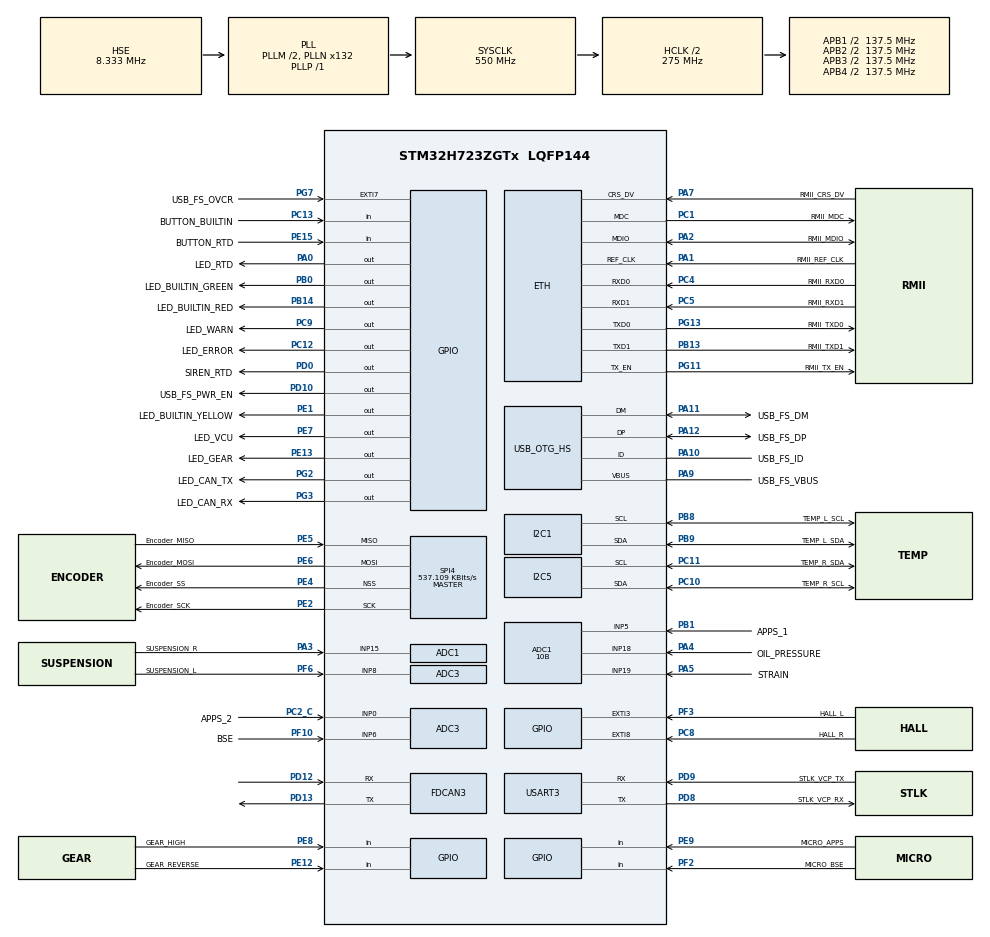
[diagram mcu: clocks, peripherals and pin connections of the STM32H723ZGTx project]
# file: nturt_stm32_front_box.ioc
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ADC1.Channel-0\#ChannelRegularConversion=ADC_CHANNEL_5
ADC1.Channel-1\#ChannelRegularConversion=ADC_CHANNEL_15
ADC1.Channel-2\#ChannelRegularConversion=ADC_CHANNEL_19
ADC1.Channel-3\#ChannelRegularConversion=ADC_CHANNEL_18
ADC1.ClockPrescaler=ADC_CLOCK_ASYNC_DIV2
ADC1.ClockPrescalerADC3=ADC_CLOCK_ASYNC_DIV2
ADC1.ConversionDataManagement=ADC_CONVERSIONDATA_DMA_ONESHOT
ADC1.EOCSelection=ADC_EOC_SINGLE_CONV
ADC1.NbrOfConversion=4
ADC1.NbrOfConversionFlag=1
ADC1.OffsetNumber-0\#ChannelRegularConversion=ADC_OFFSET_NONE
ADC1.OffsetNumber-1\#ChannelRegularConversion=ADC_OFFSET_NONE
ADC1.OffsetNumber-2\#ChannelRegularConversion=ADC_OFFSET_NONE
ADC1.OffsetNumber-3\#ChannelRegularConversion=ADC_OFFSET_NONE
ADC1.OffsetSignedSaturation-0\#ChannelRegularConversion=DISABLE
ADC1.Overrun=ADC_OVR_DATA_OVERWRITTEN
ADC1.OversamplingMode=ENABLE
ADC1.OversamplingStopReset=ADC_REGOVERSAMPLING_CONTINUED_MODE
ADC1.Rank-0\#ChannelRegularConversion=1
ADC1.Rank-1\#ChannelRegularConversion=2
ADC1.Rank-2\#ChannelRegularConversion=3
ADC1.Rank-3\#ChannelRegularConversion=4
ADC1.Ratio=4
ADC1.Resolution=ADC_RESOLUTION_10B
ADC1.SamplingTime-0\#ChannelRegularConversion=ADC_SAMPLETIME_32CYCLES_5
ADC1.SamplingTime-1\#ChannelRegularConversion=ADC_SAMPLETIME_32CYCLES_5
ADC1.SamplingTime-2\#ChannelRegularConversion=ADC_SAMPLETIME_16CYCLES_5
ADC1.SamplingTime-3\#ChannelRegularConversion=ADC_SAMPLETIME_32CYCLES_5
ADC1.TriggeredMode=ADC_TRIGGEREDMODE_SINGLE_TRIGGER
ADC1.master=1
ADC3.Channel-1\#ChannelRegularConversion=ADC_CHANNEL_0
ADC3.Channel-2\#ChannelRegularConversion=ADC_CHANNEL_6
ADC3.Channel-3\#ChannelRegularConversion=ADC_CHANNEL_8
ADC3.ClockPrescaler=ADC_CLOCK_ASYNC_DIV2
ADC3.ClockPrescalerADC3=ADC_CLOCK_ASYNC_DIV2
ADC3.ConversionDataManagement=ADC_CONVERSIONDATA_DMA_ONESHOT
ADC3.DMAContinuousRequests=ENABLE
ADC3.EOCSelection=ADC_EOC_SINGLE_CONV
ADC3.EnableRegularConversion=ENABLE
ADC3.NbrOfConversion=3
ADC3.NbrOfConversionFlag=1
ADC3.OffsetNumber-1\#ChannelRegularConversion=ADC_OFFSET_NONE
ADC3.OffsetNumber-2\#ChannelRegularConversion=ADC_OFFSET_NONE
ADC3.OffsetNumber-3\#ChannelRegularConversion=ADC_OFFSET_NONE
ADC3.OffsetSign-1\#ChannelRegularConversion=ADC3_OFFSET_SIGN_NEGATIVE
ADC3.OffsetSign-2\#ChannelRegularConversion=ADC3_OFFSET_SIGN_NEGATIVE
ADC3.OffsetSign-3\#ChannelRegularConversion=ADC3_OFFSET_SIGN_NEGATIVE
ADC3.Overrun=ADC_OVR_DATA_OVERWRITTEN
ADC3.OversamplingMode=ENABLE
ADC3.Rank-1\#ChannelRegularConversion=1
ADC3.Rank-2\#ChannelRegularConversion=2
ADC3.Rank-3\#ChannelRegularConversion=3
ADC3.Ratio=4
ADC3.ResolutionADC3=ADC_RESOLUTION_10B
ADC3.SamplingTime-1\#ChannelRegularConversion=ADC3_SAMPLETIME_24CYCLES_5
ADC3.SamplingTime-2\#ChannelRegularConversion=ADC3_SAMPLETIME_24CYCLES_5
ADC3.SamplingTime-3\#ChannelRegularConversion=ADC3_SAMPLETIME_24CYCLES_5
CORTEX_M7.AccessPermission-Cortex_Memory_Protection_Unit_Region0_Settings=MPU_REGION_FULL_ACCESS
CORTEX_M7.BaseAddress-Cortex_Memory_Protection_Unit_Region0_Settings=0x30004000
CORTEX_M7.CPU_DCache=Enabled
CORTEX_M7.CPU_ICache=Enabled
CORTEX_M7.DisableExec-Cortex_Memory_Protection_Unit_Region0_Settings=MPU_INSTRUCTION_ACCESS_DISABLE
CORTEX_M7.Enable-Cortex_Memory_Protection_Unit_Region0_Settings=MPU_REGION_ENABLE
CORTEX_M7.Enable-Cortex_Memory_Protection_Unit_Region1_Settings=__NULL
CORTEX_M7.IsBufferable-Cortex_Memory_Protection_Unit_Region0_Settings=MPU_ACCESS_BUFFERABLE
CORTEX_M7.IsShareable-Cortex_Memory_Protection_Unit_Region0_Settings=MPU_ACCESS_SHAREABLE
CORTEX_M7.MPU_Control=MPU_PRIVILEGED_DEFAULT
CORTEX_M7.Size-Cortex_Memory_Protection_Unit_Region0_Settings=MPU_REGION_SIZE_16KB
Dma.ADC1.0.Direction=DMA_PERIPH_TO_MEMORY
Dma.ADC1.0.EventEnable=DISABLE
Dma.ADC1.0.FIFOMode=DMA_FIFOMODE_DISABLE
Dma.ADC1.0.Instance=DMA1_Stream0
Dma.ADC1.0.MemDataAlignment=DMA_MDATAALIGN_HALFWORD
Dma.ADC1.0.MemInc=DMA_MINC_ENABLE
Dma.ADC1.0.Mode=DMA_NORMAL
Dma.ADC1.0.PeriphDataAlignment=DMA_PDATAALIGN_HALFWORD
Dma.ADC1.0.PeriphInc=DMA_PINC_DISABLE
Dma.ADC1.0.Polarity=HAL_DMAMUX_REQ_GEN_RISING
Dma.ADC1.0.Priority=DMA_PRIORITY_HIGH
Dma.ADC1.0.RequestNumber=1
Dma.ADC1.0.SignalID=NONE
Dma.ADC1.0.SyncEnable=DISABLE
Dma.ADC1.0.SyncPolarity=HAL_DMAMUX_SYNC_NO_EVENT
Dma.ADC1.0.SyncRequestNumber=1
Dma.ADC1.0.SyncSignalID=NONE
Dma.ADC3.3.Direction=DMA_PERIPH_TO_MEMORY
Dma.ADC3.3.EventEnable=DISABLE
Dma.ADC3.3.FIFOMode=DMA_FIFOMODE_DISABLE
Dma.ADC3.3.Instance=DMA2_Stream3
Dma.ADC3.3.MemDataAlignment=DMA_MDATAALIGN_HALFWORD
Dma.ADC3.3.MemInc=DMA_MINC_ENABLE
Dma.ADC3.3.Mode=DMA_NORMAL
Dma.ADC3.3.PeriphDataAlignment=DMA_PDATAALIGN_HALFWORD
Dma.ADC3.3.PeriphInc=DMA_PINC_DISABLE
Dma.ADC3.3.Polarity=HAL_DMAMUX_REQ_GEN_RISING
Dma.ADC3.3.Priority=DMA_PRIORITY_HIGH
Dma.ADC3.3.RequestNumber=1
Dma.ADC3.3.SignalID=NONE
Dma.ADC3.3.SyncEnable=DISABLE
Dma.ADC3.3.SyncPolarity=HAL_DMAMUX_SYNC_NO_EVENT
Dma.ADC3.3.SyncRequestNumber=1
Dma.ADC3.3.SyncSignalID=NONE
Dma.I2C1_RX.4.Direction=DMA_PERIPH_TO_MEMORY
Dma.I2C1_RX.4.EventEnable=DISABLE
Dma.I2C1_RX.4.FIFOMode=DMA_FIFOMODE_DISABLE
Dma.I2C1_RX.4.Instance=DMA1_Stream6
Dma.I2C1_RX.4.MemDataAlignment=DMA_MDATAALIGN_BYTE
Dma.I2C1_RX.4.MemInc=DMA_MINC_ENABLE
Dma.I2C1_RX.4.Mode=DMA_NORMAL
Dma.I2C1_RX.4.PeriphDataAlignment=DMA_PDATAALIGN_BYTE
Dma.I2C1_RX.4.PeriphInc=DMA_PINC_DISABLE
Dma.I2C1_RX.4.Polarity=HAL_DMAMUX_REQ_GEN_RISING
Dma.I2C1_RX.4.Priority=DMA_PRIORITY_LOW
Dma.I2C1_RX.4.RequestNumber=1
Dma.I2C1_RX.4.SignalID=NONE
Dma.I2C1_RX.4.SyncEnable=DISABLE
Dma.I2C1_RX.4.SyncPolarity=HAL_DMAMUX_SYNC_NO_EVENT
Dma.I2C1_RX.4.SyncRequestNumber=1
Dma.I2C1_RX.4.SyncSignalID=NONE
Dma.I2C1_TX.5.Direction=DMA_MEMORY_TO_PERIPH
Dma.I2C1_TX.5.EventEnable=DISABLE
Dma.I2C1_TX.5.FIFOMode=DMA_FIFOMODE_DISABLE
Dma.I2C1_TX.5.Instance=DMA1_Stream7
Dma.I2C1_TX.5.MemDataAlignment=DMA_MDATAALIGN_BYTE
Dma.I2C1_TX.5.MemInc=DMA_MINC_ENABLE
Dma.I2C1_TX.5.Mode=DMA_NORMAL
Dma.I2C1_TX.5.PeriphDataAlignment=DMA_PDATAALIGN_BYTE
Dma.I2C1_TX.5.PeriphInc=DMA_PINC_DISABLE
Dma.I2C1_TX.5.Polarity=HAL_DMAMUX_REQ_GEN_RISING
Dma.I2C1_TX.5.Priority=DMA_PRIORITY_LOW
Dma.I2C1_TX.5.RequestNumber=1
Dma.I2C1_TX.5.SignalID=NONE
Dma.I2C1_TX.5.SyncEnable=DISABLE
Dma.I2C1_TX.5.SyncPolarity=HAL_DMAMUX_SYNC_NO_EVENT
Dma.I2C1_TX.5.SyncRequestNumber=1
Dma.I2C1_TX.5.SyncSignalID=NONE
Dma.I2C5_RX.1.Direction=DMA_PERIPH_TO_MEMORY
Dma.I2C5_RX.1.EventEnable=DISABLE
Dma.I2C5_RX.1.FIFOMode=DMA_FIFOMODE_DISABLE
Dma.I2C5_RX.1.Instance=DMA2_Stream0
Dma.I2C5_RX.1.MemDataAlignment=DMA_MDATAALIGN_BYTE
Dma.I2C5_RX.1.MemInc=DMA_MINC_ENABLE
Dma.I2C5_RX.1.Mode=DMA_NORMAL
Dma.I2C5_RX.1.PeriphDataAlignment=DMA_PDATAALIGN_BYTE
Dma.I2C5_RX.1.PeriphInc=DMA_PINC_DISABLE
Dma.I2C5_RX.1.Polarity=HAL_DMAMUX_REQ_GEN_RISING
Dma.I2C5_RX.1.Priority=DMA_PRIORITY_LOW
Dma.I2C5_RX.1.RequestNumber=1
Dma.I2C5_RX.1.SignalID=NONE
Dma.I2C5_RX.1.SyncEnable=DISABLE
Dma.I2C5_RX.1.SyncPolarity=HAL_DMAMUX_SYNC_NO_EVENT
Dma.I2C5_RX.1.SyncRequestNumber=1
Dma.I2C5_RX.1.SyncSignalID=NONE
Dma.I2C5_TX.2.Direction=DMA_MEMORY_TO_PERIPH
Dma.I2C5_TX.2.EventEnable=DISABLE
Dma.I2C5_TX.2.FIFOMode=DMA_FIFOMODE_DISABLE
Dma.I2C5_TX.2.Instance=DMA2_Stream1
Dma.I2C5_TX.2.MemDataAlignment=DMA_MDATAALIGN_BYTE
Dma.I2C5_TX.2.MemInc=DMA_MINC_ENABLE
Dma.I2C5_TX.2.Mode=DMA_NORMAL
Dma.I2C5_TX.2.PeriphDataAlignment=DMA_PDATAALIGN_BYTE
Dma.I2C5_TX.2.PeriphInc=DMA_PINC_DISABLE
Dma.I2C5_TX.2.Polarity=HAL_DMAMUX_REQ_GEN_RISING
Dma.I2C5_TX.2.Priority=DMA_PRIORITY_LOW
Dma.I2C5_TX.2.RequestNumber=1
Dma.I2C5_TX.2.SignalID=NONE
Dma.I2C5_TX.2.SyncEnable=DISABLE
Dma.I2C5_TX.2.SyncPolarity=HAL_DMAMUX_SYNC_NO_EVENT
Dma.I2C5_TX.2.SyncRequestNumber=1
Dma.I2C5_TX.2.SyncSignalID=NONE
Dma.Request0=ADC1
Dma.Request1=I2C5_RX
Dma.Request2=I2C5_TX
Dma.Request3=ADC3
Dma.Request4=I2C1_RX
Dma.Request5=I2C1_TX
ETH.MediaInterface=HAL_ETH_RMII_MODE
FDCAN3.AutoRetransmission=ENABLE
FDCAN3.CalculateBaudRateNominal=249999
FDCAN3.CalculateTimeBitNominal=4000
FDCAN3.CalculateTimeQuantumNominal=160.00000640000025
FDCAN3.DataPrescaler=8
FDCAN3.DataSyncJumpWidth=12
FDCAN3.DataTimeSeg1=12
FDCAN3.DataTimeSeg2=12
FDCAN3.ExtFiltersNbr=16
FDCAN3.NominalPrescaler=8
FDCAN3.NominalSyncJumpWidth=2
FDCAN3.NominalTimeSeg1=19
FDCAN3.NominalTimeSeg2=5
FDCAN3.RxFifo0ElmtsNbr=32
FDCAN3.RxFifo1ElmtsNbr=32
FDCAN3.StdFiltersNbr=32
FDCAN3.TxFifoQueueElmtsNbr=32
FDCAN3.TxFifoQueueMode=FDCAN_TX_QUEUE_OPERATION
FREERTOS.Tasks01=feed_dog_task,55,128,start_feed_dog_task,As weak,NULL,Static,feed_dog_task_buffer,feed_dog_task_control_block
FREERTOS.configCHECK_FOR_STACK_OVERFLOW=2
FREERTOS.configENABLE_FPU=1
FREERTOS.configGENERATE_RUN_TIME_STATS=1
FREERTOS.configTIMER_TASK_PRIORITY=48
FREERTOS.configUSE_NEWLIB_REENTRANT=1
I2C1.I2C_Fall_Time=20
I2C1.I2C_Rise_Time=20
I2C1.Timing=0x30908EC2
I2C5.I2C_Fall_Time=20
I2C5.I2C_Rise_Time=20
I2C5.Timing=0x30908EC2
IWDG1.Reload=1600 - 1
IWDG1.Window=1600 - 1
Mcu.Family=STM32H7
Mcu.Name=STM32H723ZGTx
Mcu.Package=LQFP144
Mcu.UserConstants=WHEEL_SPEED_TIMER_PERIOD,10.0;WHEEL_SPEED_TIMER_COUNT_PERIOD,0.001
NVIC.ADC3_IRQn=true\:5\:0\:false\:false\:true\:true\:true\:true\:true
NVIC.ADC_IRQn=true\:5\:0\:false\:false\:true\:true\:true\:true\:true
NVIC.DMA1_Stream0_IRQn=true\:5\:0\:true\:false\:true\:true\:false\:true\:true
NVIC.DMA1_Stream6_IRQn=true\:5\:0\:false\:false\:true\:false\:false\:true\:true
NVIC.DMA1_Stream7_IRQn=true\:5\:0\:false\:false\:true\:false\:false\:true\:true
NVIC.DMA2_Stream0_IRQn=true\:5\:0\:false\:false\:true\:true\:false\:true\:true
NVIC.DMA2_Stream1_IRQn=true\:5\:0\:true\:false\:true\:true\:false\:true\:true
NVIC.DMA2_Stream3_IRQn=true\:5\:0\:false\:false\:true\:true\:false\:true\:true
NVIC.EXTI3_IRQn=true\:5\:0\:false\:false\:true\:true\:true\:true\:true
NVIC.EXTI9_5_IRQn=true\:5\:0\:false\:false\:true\:true\:true\:true\:true
NVIC.FDCAN3_IT0_IRQn=true\:5\:0\:false\:false\:true\:true\:true\:true\:true
NVIC.FDCAN3_IT1_IRQn=true\:5\:0\:false\:false\:true\:true\:true\:true\:true
NVIC.I2C1_ER_IRQn=true\:5\:0\:false\:false\:true\:true\:true\:true\:true
NVIC.I2C1_EV_IRQn=true\:5\:0\:false\:false\:true\:true\:true\:true\:true
NVIC.I2C5_ER_IRQn=true\:5\:0\:false\:false\:true\:true\:true\:true\:true
NVIC.I2C5_EV_IRQn=true\:5\:0\:false\:false\:true\:true\:true\:true\:true
NVIC.PriorityGroup=NVIC_PRIORITYGROUP_4
NVIC.SPI4_IRQn=true\:5\:0\:false\:false\:true\:true\:true\:true\:true
NVIC.TIM6_DAC_IRQn=true\:15\:0\:false\:false\:true\:false\:false\:true\:true
NVIC.TIM7_IRQn=true\:5\:0\:false\:false\:true\:true\:true\:true\:true
NVIC.TimeBase=TIM6_DAC_IRQn
NVIC.TimeBaseIP=TIM6
PA0.GPIO_Label=LED_RTD
PA0.Signal=GPIO_Output
PA1.GPIO_Label=RMII_REF_CLK
PA1.Mode=RMII
PA1.Signal=ETH_REF_CLK
PA10.GPIO_Label=USB_FS_ID
PA10.Mode=OTG/Dual-Role-Device-FS
PA10.Signal=USB_OTG_HS_ID
PA11.GPIO_Label=USB_FS_DM
PA11.Mode=OTG/Dual-Role-Device-FS
PA11.Signal=USB_OTG_HS_DM
PA12.GPIO_Label=USB_FS_DP
PA12.Mode=OTG/Dual-Role-Device-FS
PA12.Signal=USB_OTG_HS_DP
PA13(JTMS/SWDIO).GPIO_Label=SWDIO
PA13(JTMS/SWDIO).Mode=Trace_Asynchronous_SW
PA13(JTMS/SWDIO).Signal=DEBUG_JTMS-SWDIO
PA14(JTCK/SWCLK).GPIO_Label=SWCLK
PA14(JTCK/SWCLK).Mode=Trace_Asynchronous_SW
PA14(JTCK/SWCLK).Signal=DEBUG_JTCK-SWCLK
PA2.GPIO_Label=RMII_MDIO
PA2.Mode=RMII
PA2.Signal=ETH_MDIO
PA3.GPIO_Label=SUSPENSION_R
PA3.Signal=SharedAnalog_PA3
PA4.GPIO_Label=OIL_PRESSURE
PA4.Signal=SharedAnalog_PA4
PA5.GPIO_Label=STRAIN
PA5.Signal=SharedAnalog_PA5
PA7.GPIO_Label=RMII_CRS_DV
PA7.Mode=RMII
PA7.Signal=ETH_CRS_DV
PA9.GPIO_Label=USB_FS_VBUS
PA9.Mode=Activate_VBUS_FS
PA9.Signal=USB_OTG_HS_VBUS
PB0.GPIO_Label=LED_BUILTIN_GREEN
PB0.Signal=GPIO_Output
PB1.GPIO_Label=APPS_1
PB1.Signal=SharedAnalog_PB1
PB13.GPIO_Label=RMII_TXD1
PB13.Mode=RMII
PB13.Signal=ETH_TXD1
PB14.GPIO_Label=LED_BUILTIN_RED
PB14.Signal=GPIO_Output
PB3(JTDO/TRACESWO).GPIO_Label=SWO
PB3(JTDO/TRACESWO).Mode=Trace_Asynchronous_SW
PB3(JTDO/TRACESWO).Signal=DEBUG_JTDO-SWO
PB8.GPIO_Label=TEMP_L_SCL
PB8.Mode=I2C
PB8.Signal=I2C1_SCL
PB9.GPIO_Label=TEMP_L_SDA
PB9.Mode=I2C
PB9.Signal=I2C1_SDA
PC1.GPIO_Label=RMII_MDC
PC1.Mode=RMII
PC1.Signal=ETH_MDC
PC10.GPIO_Label=TEMP_R_SCL
PC10.Mode=I2C
PC10.Signal=I2C5_SDA
PC11.GPIO_Label=TEMP_R_SDA
PC11.Mode=I2C
PC11.Signal=I2C5_SCL
PC12.GPIO_Label=LED_ERROR
PC12.Signal=GPIO_Output
PC13.GPIO_Label=BUTTON_BUILTIN
PC13.Signal=GPIO_Input
PC14-OSC32_IN.Mode=LSE-External-Oscillator
PC14-OSC32_IN.Signal=RCC_OSC32_IN
PC15-OSC32_OUT.Mode=LSE-External-Oscillator
PC15-OSC32_OUT.Signal=RCC_OSC32_OUT
PC2_C.GPIO_Label=APPS_2
PC2_C.Signal=SharedAnalog_PC2
PC4.GPIO_Label=RMII_RXD0
PC4.Mode=RMII
PC4.Signal=ETH_RXD0
PC5.GPIO_Label=RMII_RXD1
PC5.Mode=RMII
PC5.Signal=ETH_RXD1
PC8.GPIO_Label=HALL_R
PC8.GPIO_ModeDefaultEXTI=GPIO_MODE_IT_FALLING
PC8.GPIO_PuPd=GPIO_PULLUP
PC8.Signal=GPXTI8
PC9.GPIO_Label=LED_WARN
PC9.Signal=GPIO_Output
PD0.GPIO_Label=SIREN_RTD
PD0.Signal=GPIO_Output
PD10.GPIO_Label=USB_FS_PWR_EN
PD10.Signal=GPIO_Output
PD12.Mode=FDCAN_Activate
PD12.Signal=FDCAN3_RX
PD13.Mode=FDCAN_Activate
PD13.Signal=FDCAN3_TX
PD8.GPIO_Label=STLK_VCP_RX
PD8.Mode=Asynchronous
PD8.Signal=USART3_TX
PD9.GPIO_Label=STLK_VCP_TX
PD9.Mode=Asynchronous
PD9.Signal=USART3_RX
PE1.GPIO_Label=LED_BUILTIN_YELLOW
PE1.Signal=GPIO_Output
PE12.GPIO_Label=GEAR_REVERSE
PE12.GPIO_PuPd=GPIO_PULLDOWN
PE12.Signal=GPIO_Input
PE13.GPIO_Label=LED_GEAR
PE13.Signal=GPIO_Output
PE15.GPIO_Label=BUTTON_RTD
PE15.GPIO_PuPd=GPIO_PULLDOWN
PE15.Signal=GPIO_Input
PE2.GPIO_Label=Encoder_SCK
PE2.Mode=Full_Duplex_Master
PE2.Signal=SPI4_SCK
PE4.GPIO_Label=Encoder_SS
PE4.Mode=NSS_Signal_Hard_Output
PE4.Signal=SPI4_NSS
PE5.GPIO_Label=Encoder_MISO
PE5.Mode=Full_Duplex_Master
PE5.Signal=SPI4_MISO
PE6.GPIO_Label=Encoder_MOSI
PE6.Mode=Full_Duplex_Master
PE6.Signal=SPI4_MOSI
PE7.GPIO_Label=LED_VCU
PE7.Signal=GPIO_Output
PE8.GPIO_Label=GEAR_HIGH
PE8.GPIO_PuPd=GPIO_PULLDOWN
PE8.Signal=GPIO_Input
PE9.GPIO_Label=MICRO_APPS
PE9.GPIO_PuPd=GPIO_PULLUP
PE9.Signal=GPIO_Input
PF10.GPIO_Label=BSE
PF10.Signal=SharedAnalog_PF10
PF2.GPIO_Label=MICRO_BSE
PF2.GPIO_PuPd=GPIO_PULLUP
PF2.Signal=GPIO_Input
PF3.GPIO_Label=HALL_L
PF3.GPIO_PuPd=GPIO_PULLUP
PF3.Signal=GPXTI3
PF6.GPIO_Label=SUSPENSION_L
PF6.Mode=IN8-Single-Ended
PF6.Signal=ADC3_INP8
PG11.GPIO_Label=RMII_TX_EN
PG11.Mode=RMII
PG11.Signal=ETH_TX_EN
PG13.GPIO_Label=RMII_TXD0
PG13.Mode=RMII
PG13.Signal=ETH_TXD0
PG2.GPIO_Label=LED_CAN_TX
PG2.Signal=GPIO_Output
PG3.GPIO_Label=LED_CAN_RX
PG3.Signal=GPIO_Output
PG7.GPIO_Label=USB_FS_OVCR
PG7.Signal=GPXTI7
PH0-OSC_IN.GPIO_Label=MCO
PH0-OSC_IN.Mode=HSE-External-Clock-Source
PH0-OSC_IN.Signal=RCC_OSC_IN
PH1-OSC_OUT.Signal=RCC_OSC_OUT
ProjectManager.HeapSize=0x200
ProjectManager.StackSize=0x400
ProjectManager.TargetToolchain=STM32CubeIDE
RCC.ADCFreq_Value=49999998
RCC.APB1Freq_Value=137499994.5
RCC.APB2Freq_Value=137499994.5
RCC.APB3Freq_Value=137499994.5
RCC.APB4Freq_Value=137499994.5
RCC.CortexFreq_Value=549999978
RCC.D1PPRE=RCC_APB3_DIV2
RCC.D2PPRE1=RCC_APB1_DIV2
RCC.D2PPRE2=RCC_APB2_DIV2
RCC.D3PPRE=RCC_APB4_DIV2
RCC.DIVM1=2
RCC.DIVM2=2
RCC.DIVN1=132
RCC.DIVN2=132
RCC.DIVP1=1
RCC.DIVP2=11
RCC.DIVQ1=11
RCC.HCLKFreq_Value=274999989
RCC.HPRE=RCC_HCLK_DIV2
RCC.HSE_VALUE=8333333
RCC.PLLFRACN=0
RCC.PLLSourceVirtual=RCC_PLLSOURCE_HSE
RCC.SYSCLKFreq_VALUE=549999978
RCC.SYSCLKSource=RCC_SYSCLKSOURCE_PLLCLK
RCC.USBCLockSelection=RCC_USBCLKSOURCE_HSI48
RCC.USBFreq_Value=48000000
SH.SharedAnalog_PA3.0=GPIO_Analog
SH.SharedAnalog_PA3.1=ADC1_INP15,IN15-Single-Ended
SH.SharedAnalog_PA4.0=GPIO_Analog
SH.SharedAnalog_PA4.1=ADC1_INP18,IN18-Single-Ended
SH.SharedAnalog_PA5.0=GPIO_Analog
SH.SharedAnalog_PA5.1=ADC1_INP19,IN19-Single-Ended
SH.SharedAnalog_PB1.0=GPIO_Analog
SH.SharedAnalog_PB1.1=ADC1_INP5,IN5-Single-Ended
SH.SharedAnalog_PC2.0=GPIO_Analog
SH.SharedAnalog_PC2.1=ADC3_INP0,IN0-Single-Ended
SH.SharedAnalog_PF10.0=GPIO_Analog
SH.SharedAnalog_PF10.1=ADC3_INP6,IN6-Single-Ended
SPI4.BaudRatePrescaler=SPI_BAUDRATEPRESCALER_256
SPI4.CalculateBaudRate=537.109 KBits/s
SPI4.DataSize=SPI_DATASIZE_8BIT
SPI4.Direction=SPI_DIRECTION_2LINES
SPI4.FifoThreshold=SPI_FIFO_THRESHOLD_01DATA
SPI4.MasterInterDataIdleness=SPI_MASTER_INTERDATA_IDLENESS_06CYCLE
SPI4.MasterSSIdleness=SPI_MASTER_SS_IDLENESS_06CYCLE
SPI4.Mode=SPI_MODE_MASTER
SPI4.NSSPMode=SPI_NSS_PULSE_DISABLE
SPI4.VirtualNSS=VM_NSSHARD
SPI4.VirtualType=VM_MASTER
TIM2.Prescaler=2750 - 1
TIM7.AutoReloadPreload=TIM_AUTORELOAD_PRELOAD_ENABLE
TIM7.Period=10000-1
TIM7.Prescaler=275-1
USART3.VirtualMode-Asynchronous=VM_ASYNC
VP_FREERTOS_VS_CMSIS_V2.Mode=CMSIS_V2
VP_IWDG1_VS_IWDG.Mode=IWDG_Activate
VP_SYS_VS_tim6.Mode=TIM6
VP_TIM2_VS_ClockSourceINT.Mode=Internal
VP_TIM7_VS_ClockSourceINT.Mode=Enable_Timer
board=NUCLEO-H723ZG

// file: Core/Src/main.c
/* USER CODE BEGIN Header */
/**
 ******************************************************************************
 * @file           : main.c
 * @brief          : Main program body
 ******************************************************************************
 * @attention
 *
 * Copyright (c) 2023 STMicroelectronics.
 * All rights reserved.
 *
 * This software is licensed under terms that can be found in the LICENSE file
 * in the root directory of this software component.
 * If no LICENSE file comes with this software, it is provided AS-IS.
 *
 ******************************************************************************
 */
/* USER CODE END Header */
#include "main.h"
#include "string.h"
#include "cmsis_os.h"

/* USER CODE BEGIN Includes */
#include "user_main.h"
#include "sensors.h"
/* USER CODE END Includes */

typedef StaticTask_t osStaticThreadDef_t;

#if defined ( __ICCARM__ ) /*!< IAR Compiler */
#pragma location=0x30000000
ETH_DMADescTypeDef  DMARxDscrTab[ETH_RX_DESC_CNT]; /* Ethernet Rx DMA Descriptors */
#pragma location=0x30000200
ETH_DMADescTypeDef  DMATxDscrTab[ETH_TX_DESC_CNT]; /* Ethernet Tx DMA Descriptors */

#elif defined ( __CC_ARM )  /* MDK ARM Compiler */

__attribute__((at(0x30000000))) ETH_DMADescTypeDef  DMARxDscrTab[ETH_RX_DESC_CNT]; /* Ethernet Rx DMA Descriptors */
__attribute__((at(0x30000200))) ETH_DMADescTypeDef  DMATxDscrTab[ETH_TX_DESC_CNT]; /* Ethernet Tx DMA Descriptors */

#elif defined ( __GNUC__ ) /* GNU Compiler */
ETH_DMADescTypeDef DMARxDscrTab[ETH_RX_DESC_CNT] __attribute__((section(".RxDecripSection"))); /* Ethernet Rx DMA Descriptors */
ETH_DMADescTypeDef DMATxDscrTab[ETH_TX_DESC_CNT] __attribute__((section(".TxDecripSection")));   /* Ethernet Tx DMA Descriptors */

#endif

ETH_TxPacketConfig TxConfig;

ADC_HandleTypeDef hadc1;
ADC_HandleTypeDef hadc3;
DMA_HandleTypeDef hdma_adc1;
DMA_HandleTypeDef hdma_adc3;

ETH_HandleTypeDef heth;

FDCAN_HandleTypeDef hfdcan3;

I2C_HandleTypeDef hi2c1;
I2C_HandleTypeDef hi2c5;
DMA_HandleTypeDef hdma_i2c1_rx;
DMA_HandleTypeDef hdma_i2c1_tx;
DMA_HandleTypeDef hdma_i2c5_rx;
DMA_HandleTypeDef hdma_i2c5_tx;

IWDG_HandleTypeDef hiwdg1;

SPI_HandleTypeDef hspi4;

TIM_HandleTypeDef htim2;
TIM_HandleTypeDef htim7;

UART_HandleTypeDef huart3;

/* Definitions for feed_dog_task */
osThreadId_t feed_dog_taskHandle;
uint32_t feed_dog_task_buffer[ 128 ];
osStaticThreadDef_t feed_dog_task_control_block;
const osThreadAttr_t feed_dog_task_attributes = {
  .name = "feed_dog_task",
  .cb_mem = &feed_dog_task_control_block,
  .cb_size = sizeof(feed_dog_task_control_block),
  .stack_mem = &feed_dog_task_buffer[0],
  .stack_size = sizeof(feed_dog_task_buffer),
  .priority = (osPriority_t) osPriorityRealtime7,
};

void SystemClock_Config(void);
void PeriphCommonClock_Config(void);
static void MPU_Config(void);
static void MX_GPIO_Init(void);
static void MX_DMA_Init(void);
static void MX_ETH_Init(void);
static void MX_USART3_UART_Init(void);
static void MX_USB_OTG_HS_USB_Init(void);
static void MX_FDCAN3_Init(void);
static void MX_I2C5_Init(void);
static void MX_SPI4_Init(void);
static void MX_ADC1_Init(void);
static void MX_TIM2_Init(void);
static void MX_ADC3_Init(void);
static void MX_IWDG1_Init(void);
static void MX_TIM7_Init(void);
static void MX_I2C1_Init(void);
void start_feed_dog_task(void *argument);

int main(void)
{

  /* MPU Configuration--------------------------------------------------------*/
  MPU_Config();

  /* Enable I-Cache---------------------------------------------------------*/
  SCB_EnableICache();

  /* Enable D-Cache---------------------------------------------------------*/
  SCB_EnableDCache();

  /* MCU Configuration--------------------------------------------------------*/

  /* Reset of all peripherals, Initializes the Flash interface and the Systick. */
  HAL_Init();

  /* Configure the system clock */
  SystemClock_Config();

/* Configure the peripherals common clocks */
  PeriphCommonClock_Config();

  /* Initialize all configured peripherals */
  MX_GPIO_Init();
  MX_DMA_Init();
  MX_ETH_Init();
  MX_USART3_UART_Init();
  MX_USB_OTG_HS_USB_Init();
  MX_FDCAN3_Init();
  MX_I2C5_Init();
  MX_SPI4_Init();
  MX_ADC1_Init();
  MX_TIM2_Init();
  MX_ADC3_Init();
  MX_IWDG1_Init();
  MX_TIM7_Init();
  MX_I2C1_Init();
  /* USER CODE BEGIN 2 */
  user_init();
  /* USER CODE END 2 */

  /* Init scheduler */
  osKernelInitialize();

  /* Create the thread(s) */
  /* creation of feed_dog_task */
  feed_dog_taskHandle = osThreadNew(start_feed_dog_task, NULL, &feed_dog_task_attributes);

  /* Start scheduler */
  osKernelStart();
  /* We should never get here as control is now taken by the scheduler */
  /* Infinite loop */
  while (1) {

  }
}

void SystemClock_Config(void)
{
  RCC_OscInitTypeDef RCC_OscInitStruct = {0};
  RCC_ClkInitTypeDef RCC_ClkInitStruct = {0};

  /** Supply configuration update enable
  */
  HAL_PWREx_ConfigSupply(PWR_LDO_SUPPLY);

  /** Configure the main internal regulator output voltage
  */
  __HAL_PWR_VOLTAGESCALING_CONFIG(PWR_REGULATOR_VOLTAGE_SCALE0);

  while(!__HAL_PWR_GET_FLAG(PWR_FLAG_VOSRDY)) {}

  /** Initializes the RCC Oscillators according to the specified parameters
  * in the RCC_OscInitTypeDef structure.
  */
  RCC_OscInitStruct.OscillatorType = RCC_OSCILLATORTYPE_HSI48|RCC_OSCILLATORTYPE_LSI
                              |RCC_OSCILLATORTYPE_HSE;
  RCC_OscInitStruct.HSEState = RCC_HSE_BYPASS;
  RCC_OscInitStruct.LSIState = RCC_LSI_ON;
  RCC_OscInitStruct.HSI48State = RCC_HSI48_ON;
  RCC_OscInitStruct.PLL.PLLState = RCC_PLL_ON;
  RCC_OscInitStruct.PLL.PLLSource = RCC_PLLSOURCE_HSE;
  RCC_OscInitStruct.PLL.PLLM = 2;
  RCC_OscInitStruct.PLL.PLLN = 132;
  RCC_OscInitStruct.PLL.PLLP = 1;
  RCC_OscInitStruct.PLL.PLLQ = 11;
  RCC_OscInitStruct.PLL.PLLR = 2;
  RCC_OscInitStruct.PLL.PLLRGE = RCC_PLL1VCIRANGE_2;
  RCC_OscInitStruct.PLL.PLLVCOSEL = RCC_PLL1VCOWIDE;
  RCC_OscInitStruct.PLL.PLLFRACN = 0;
  if (HAL_RCC_OscConfig(&RCC_OscInitStruct) != HAL_OK)
  {
    Error_Handler();
  }

  /** Initializes the CPU, AHB and APB buses clocks
  */
  RCC_ClkInitStruct.ClockType = RCC_CLOCKTYPE_HCLK|RCC_CLOCKTYPE_SYSCLK
                              |RCC_CLOCKTYPE_PCLK1|RCC_CLOCKTYPE_PCLK2
                              |RCC_CLOCKTYPE_D3PCLK1|RCC_CLOCKTYPE_D1PCLK1;
  RCC_ClkInitStruct.SYSCLKSource = RCC_SYSCLKSOURCE_PLLCLK;
  RCC_ClkInitStruct.SYSCLKDivider = RCC_SYSCLK_DIV1;
  RCC_ClkInitStruct.AHBCLKDivider = RCC_HCLK_DIV2;
  RCC_ClkInitStruct.APB3CLKDivider = RCC_APB3_DIV2;
  RCC_ClkInitStruct.APB1CLKDivider = RCC_APB1_DIV2;
  RCC_ClkInitStruct.APB2CLKDivider = RCC_APB2_DIV2;
  RCC_ClkInitStruct.APB4CLKDivider = RCC_APB4_DIV2;

  if (HAL_RCC_ClockConfig(&RCC_ClkInitStruct, FLASH_LATENCY_3) != HAL_OK)
  {
    Error_Handler();
  }
}

void PeriphCommonClock_Config(void)
{
  RCC_PeriphCLKInitTypeDef PeriphClkInitStruct = {0};

  /** Initializes the peripherals clock
  */
  PeriphClkInitStruct.PeriphClockSelection = RCC_PERIPHCLK_ADC;
  PeriphClkInitStruct.PLL2.PLL2M = 2;
  PeriphClkInitStruct.PLL2.PLL2N = 132;
  PeriphClkInitStruct.PLL2.PLL2P = 11;
  PeriphClkInitStruct.PLL2.PLL2Q = 2;
  PeriphClkInitStruct.PLL2.PLL2R = 2;
  PeriphClkInitStruct.PLL2.PLL2RGE = RCC_PLL2VCIRANGE_2;
  PeriphClkInitStruct.PLL2.PLL2VCOSEL = RCC_PLL2VCOWIDE;
  PeriphClkInitStruct.PLL2.PLL2FRACN = 0;
  PeriphClkInitStruct.AdcClockSelection = RCC_ADCCLKSOURCE_PLL2;
  if (HAL_RCCEx_PeriphCLKConfig(&PeriphClkInitStruct) != HAL_OK)
  {
    Error_Handler();
  }
}

static void MX_ADC1_Init(void)
{

  ADC_MultiModeTypeDef multimode = {0};
  ADC_ChannelConfTypeDef sConfig = {0};

  /** Common config
  */
  hadc1.Instance = ADC1;
  hadc1.Init.ClockPrescaler = ADC_CLOCK_ASYNC_DIV2;
  hadc1.Init.Resolution = ADC_RESOLUTION_10B;
  hadc1.Init.ScanConvMode = ADC_SCAN_ENABLE;
  hadc1.Init.EOCSelection = ADC_EOC_SINGLE_CONV;
  hadc1.Init.LowPowerAutoWait = DISABLE;
  hadc1.Init.ContinuousConvMode = DISABLE;
  hadc1.Init.NbrOfConversion = 4;
  hadc1.Init.DiscontinuousConvMode = DISABLE;
  hadc1.Init.ExternalTrigConv = ADC_SOFTWARE_START;
  hadc1.Init.ExternalTrigConvEdge = ADC_EXTERNALTRIGCONVEDGE_NONE;
  hadc1.Init.ConversionDataManagement = ADC_CONVERSIONDATA_DMA_ONESHOT;
  hadc1.Init.Overrun = ADC_OVR_DATA_OVERWRITTEN;
  hadc1.Init.LeftBitShift = ADC_LEFTBITSHIFT_NONE;
  hadc1.Init.OversamplingMode = ENABLE;
  hadc1.Init.Oversampling.Ratio = 4;
  hadc1.Init.Oversampling.RightBitShift = ADC_RIGHTBITSHIFT_NONE;
  hadc1.Init.Oversampling.TriggeredMode = ADC_TRIGGEREDMODE_SINGLE_TRIGGER;
  hadc1.Init.Oversampling.OversamplingStopReset = ADC_REGOVERSAMPLING_CONTINUED_MODE;
  if (HAL_ADC_Init(&hadc1) != HAL_OK)
  {
    Error_Handler();
  }

  /** Configure the ADC multi-mode
  */
  multimode.Mode = ADC_MODE_INDEPENDENT;
  if (HAL_ADCEx_MultiModeConfigChannel(&hadc1, &multimode) != HAL_OK)
  {
    Error_Handler();
  }

  /** Configure Regular Channel
  */
  sConfig.Channel = ADC_CHANNEL_5;
  sConfig.Rank = ADC_REGULAR_RANK_1;
  sConfig.SamplingTime = ADC_SAMPLETIME_32CYCLES_5;
  sConfig.SingleDiff = ADC_SINGLE_ENDED;
  sConfig.OffsetNumber = ADC_OFFSET_NONE;
  sConfig.Offset = 0;
  sConfig.OffsetSignedSaturation = DISABLE;
  if (HAL_ADC_ConfigChannel(&hadc1, &sConfig) != HAL_OK)
  {
    Error_Handler();
  }

  /** Configure Regular Channel
  */
  sConfig.Channel = ADC_CHANNEL_15;
  sConfig.Rank = ADC_REGULAR_RANK_2;
  if (HAL_ADC_ConfigChannel(&hadc1, &sConfig) != HAL_OK)
  {
    Error_Handler();
  }

  /** Configure Regular Channel
  */
  sConfig.Channel = ADC_CHANNEL_19;
  sConfig.Rank = ADC_REGULAR_RANK_3;
  sConfig.SamplingTime = ADC_SAMPLETIME_16CYCLES_5;
  if (HAL_ADC_ConfigChannel(&hadc1, &sConfig) != HAL_OK)
  {
    Error_Handler();
  }

  /** Configure Regular Channel
  */
  sConfig.Channel = ADC_CHANNEL_18;
  sConfig.Rank = ADC_REGULAR_RANK_4;
  sConfig.SamplingTime = ADC_SAMPLETIME_32CYCLES_5;
  if (HAL_ADC_ConfigChannel(&hadc1, &sConfig) != HAL_OK)
  {
    Error_Handler();
  }

}

static void MX_ADC3_Init(void)
{

  ADC_ChannelConfTypeDef sConfig = {0};

  /** Common config
  */
  hadc3.Instance = ADC3;
  hadc3.Init.ClockPrescaler = ADC_CLOCK_ASYNC_DIV2;
  hadc3.Init.Resolution = ADC_RESOLUTION_10B;
  hadc3.Init.DataAlign = ADC3_DATAALIGN_RIGHT;
  hadc3.Init.ScanConvMode = ADC_SCAN_ENABLE;
  hadc3.Init.EOCSelection = ADC_EOC_SINGLE_CONV;
  hadc3.Init.LowPowerAutoWait = DISABLE;
  hadc3.Init.ContinuousConvMode = DISABLE;
  hadc3.Init.NbrOfConversion = 3;
  hadc3.Init.DiscontinuousConvMode = DISABLE;
  hadc3.Init.ExternalTrigConv = ADC_SOFTWARE_START;
  hadc3.Init.ExternalTrigConvEdge = ADC_EXTERNALTRIGCONVEDGE_NONE;
  hadc3.Init.DMAContinuousRequests = ENABLE;
  hadc3.Init.SamplingMode = ADC_SAMPLING_MODE_NORMAL;
  hadc3.Init.ConversionDataManagement = ADC_CONVERSIONDATA_DMA_ONESHOT;
  hadc3.Init.Overrun = ADC_OVR_DATA_OVERWRITTEN;
  hadc3.Init.LeftBitShift = ADC_LEFTBITSHIFT_NONE;
  hadc3.Init.OversamplingMode = ENABLE;
  hadc3.Init.Oversampling.Ratio = 4;
  hadc3.Init.Oversampling.RightBitShift = ADC_RIGHTBITSHIFT_NONE;
  hadc3.Init.Oversampling.TriggeredMode = ADC_TRIGGEREDMODE_SINGLE_TRIGGER;
  hadc3.Init.Oversampling.OversamplingStopReset = ADC_REGOVERSAMPLING_CONTINUED_MODE;
  if (HAL_ADC_Init(&hadc3) != HAL_OK)
  {
    Error_Handler();
  }

  /** Configure Regular Channel
  */
  sConfig.Channel = ADC_CHANNEL_0;
  sConfig.Rank = ADC_REGULAR_RANK_1;
  sConfig.SamplingTime = ADC3_SAMPLETIME_24CYCLES_5;
  sConfig.SingleDiff = ADC_SINGLE_ENDED;
  sConfig.OffsetNumber = ADC_OFFSET_NONE;
  sConfig.Offset = 0;
  sConfig.OffsetSign = ADC3_OFFSET_SIGN_NEGATIVE;
  if (HAL_ADC_ConfigChannel(&hadc3, &sConfig) != HAL_OK)
  {
    Error_Handler();
  }

  /** Configure Regular Channel
  */
  sConfig.Channel = ADC_CHANNEL_6;
  sConfig.Rank = ADC_REGULAR_RANK_2;
  if (HAL_ADC_ConfigChannel(&hadc3, &sConfig) != HAL_OK)
  {
    Error_Handler();
  }

  /** Configure Regular Channel
  */
  sConfig.Channel = ADC_CHANNEL_8;
  sConfig.Rank = ADC_REGULAR_RANK_3;
  if (HAL_ADC_ConfigChannel(&hadc3, &sConfig) != HAL_OK)
  {
    Error_Handler();
  }

}

static void MX_ETH_Init(void)
{

   static uint8_t MACAddr[6];

  heth.Instance = ETH;
  MACAddr[0] = 0x00;
  MACAddr[1] = 0x80;
  MACAddr[2] = 0xE1;
  MACAddr[3] = 0x00;
  MACAddr[4] = 0x00;
  MACAddr[5] = 0x00;
  heth.Init.MACAddr = &MACAddr[0];
  heth.Init.MediaInterface = HAL_ETH_RMII_MODE;
  heth.Init.TxDesc = DMATxDscrTab;
  heth.Init.RxDesc = DMARxDscrTab;
  heth.Init.RxBuffLen = 1524;

  if (HAL_ETH_Init(&heth) != HAL_OK)
  {
    Error_Handler();
  }

  memset(&TxConfig, 0 , sizeof(ETH_TxPacketConfig));
  TxConfig.Attributes = ETH_TX_PACKETS_FEATURES_CSUM | ETH_TX_PACKETS_FEATURES_CRCPAD;
  TxConfig.ChecksumCtrl = ETH_CHECKSUM_IPHDR_PAYLOAD_INSERT_PHDR_CALC;
  TxConfig.CRCPadCtrl = ETH_CRC_PAD_INSERT;

}

static void MX_FDCAN3_Init(void)
{

  hfdcan3.Instance = FDCAN3;
  hfdcan3.Init.FrameFormat = FDCAN_FRAME_CLASSIC;
  hfdcan3.Init.Mode = FDCAN_MODE_NORMAL;
  hfdcan3.Init.AutoRetransmission = ENABLE;
  hfdcan3.Init.TransmitPause = DISABLE;
  hfdcan3.Init.ProtocolException = DISABLE;
  hfdcan3.Init.NominalPrescaler = 8;
  hfdcan3.Init.NominalSyncJumpWidth = 2;
  hfdcan3.Init.NominalTimeSeg1 = 19;
  hfdcan3.Init.NominalTimeSeg2 = 5;
  hfdcan3.Init.DataPrescaler = 8;
  hfdcan3.Init.DataSyncJumpWidth = 12;
  hfdcan3.Init.DataTimeSeg1 = 12;
  hfdcan3.Init.DataTimeSeg2 = 12;
  hfdcan3.Init.MessageRAMOffset = 0;
  hfdcan3.Init.StdFiltersNbr = 32;
  hfdcan3.Init.ExtFiltersNbr = 16;
  hfdcan3.Init.RxFifo0ElmtsNbr = 32;
  hfdcan3.Init.RxFifo0ElmtSize = FDCAN_DATA_BYTES_8;
  hfdcan3.Init.RxFifo1ElmtsNbr = 32;
  hfdcan3.Init.RxFifo1ElmtSize = FDCAN_DATA_BYTES_8;
  hfdcan3.Init.RxBuffersNbr = 0;
  hfdcan3.Init.RxBufferSize = FDCAN_DATA_BYTES_8;
  hfdcan3.Init.TxEventsNbr = 0;
  hfdcan3.Init.TxBuffersNbr = 0;
  hfdcan3.Init.TxFifoQueueElmtsNbr = 32;
  hfdcan3.Init.TxFifoQueueMode = FDCAN_TX_QUEUE_OPERATION;
  hfdcan3.Init.TxElmtSize = FDCAN_DATA_BYTES_8;
  if (HAL_FDCAN_Init(&hfdcan3) != HAL_OK)
  {
    Error_Handler();
  }

}

static void MX_I2C1_Init(void)
{

  hi2c1.Instance = I2C1;
  hi2c1.Init.Timing = 0x30908EC2;
  hi2c1.Init.OwnAddress1 = 0;
  hi2c1.Init.AddressingMode = I2C_ADDRESSINGMODE_7BIT;
  hi2c1.Init.DualAddressMode = I2C_DUALADDRESS_DISABLE;
  hi2c1.Init.OwnAddress2 = 0;
  hi2c1.Init.OwnAddress2Masks = I2C_OA2_NOMASK;
  hi2c1.Init.GeneralCallMode = I2C_GENERALCALL_DISABLE;
  hi2c1.Init.NoStretchMode = I2C_NOSTRETCH_DISABLE;
  if (HAL_I2C_Init(&hi2c1) != HAL_OK)
  {
    Error_Handler();
  }

  /** Configure Analogue filter
  */
  if (HAL_I2CEx_ConfigAnalogFilter(&hi2c1, I2C_ANALOGFILTER_ENABLE) != HAL_OK)
  {
    Error_Handler();
  }

  /** Configure Digital filter
  */
  if (HAL_I2CEx_ConfigDigitalFilter(&hi2c1, 0) != HAL_OK)
  {
    Error_Handler();
  }

}

static void MX_I2C5_Init(void)
{

  hi2c5.Instance = I2C5;
  hi2c5.Init.Timing = 0x30908EC2;
  hi2c5.Init.OwnAddress1 = 0;
  hi2c5.Init.AddressingMode = I2C_ADDRESSINGMODE_7BIT;
  hi2c5.Init.DualAddressMode = I2C_DUALADDRESS_DISABLE;
  hi2c5.Init.OwnAddress2 = 0;
  hi2c5.Init.OwnAddress2Masks = I2C_OA2_NOMASK;
  hi2c5.Init.GeneralCallMode = I2C_GENERALCALL_DISABLE;
  hi2c5.Init.NoStretchMode = I2C_NOSTRETCH_DISABLE;
  if (HAL_I2C_Init(&hi2c5) != HAL_OK)
  {
    Error_Handler();
  }

  /** Configure Analogue filter
  */
  if (HAL_I2CEx_ConfigAnalogFilter(&hi2c5, I2C_ANALOGFILTER_ENABLE) != HAL_OK)
  {
    Error_Handler();
  }

  /** Configure Digital filter
  */
  if (HAL_I2CEx_ConfigDigitalFilter(&hi2c5, 0) != HAL_OK)
  {
    Error_Handler();
  }

}

static void MX_IWDG1_Init(void)
{

  /* USER CODE BEGIN IWDG1_Init 1 */
#ifdef PRODUCTION
  /* USER CODE END IWDG1_Init 1 */
  hiwdg1.Instance = IWDG1;
  hiwdg1.Init.Prescaler = IWDG_PRESCALER_4;
  hiwdg1.Init.Window = 1600 - 1;
  hiwdg1.Init.Reload = 1600 - 1;
  if (HAL_IWDG_Init(&hiwdg1) != HAL_OK)
  {
    Error_Handler();
  }
  /* USER CODE BEGIN IWDG1_Init 2 */
#endif  // PRODUCTION
  /* USER CODE END IWDG1_Init 2 */

}

static void MX_SPI4_Init(void)
{

  /* SPI4 parameter configuration*/
  hspi4.Instance = SPI4;
  hspi4.Init.Mode = SPI_MODE_MASTER;
  hspi4.Init.Direction = SPI_DIRECTION_2LINES;
  hspi4.Init.DataSize = SPI_DATASIZE_8BIT;
  hspi4.Init.CLKPolarity = SPI_POLARITY_LOW;
  hspi4.Init.CLKPhase = SPI_PHASE_1EDGE;
  hspi4.Init.NSS = SPI_NSS_HARD_OUTPUT;
  hspi4.Init.BaudRatePrescaler = SPI_BAUDRATEPRESCALER_256;
  hspi4.Init.FirstBit = SPI_FIRSTBIT_MSB;
  hspi4.Init.TIMode = SPI_TIMODE_DISABLE;
  hspi4.Init.CRCCalculation = SPI_CRCCALCULATION_DISABLE;
  hspi4.Init.CRCPolynomial = 0x0;
  hspi4.Init.NSSPMode = SPI_NSS_PULSE_DISABLE;
  hspi4.Init.NSSPolarity = SPI_NSS_POLARITY_LOW;
  hspi4.Init.FifoThreshold = SPI_FIFO_THRESHOLD_01DATA;
  hspi4.Init.TxCRCInitializationPattern = SPI_CRC_INITIALIZATION_ALL_ZERO_PATTERN;
  hspi4.Init.RxCRCInitializationPattern = SPI_CRC_INITIALIZATION_ALL_ZERO_PATTERN;
  hspi4.Init.MasterSSIdleness = SPI_MASTER_SS_IDLENESS_06CYCLE;
  hspi4.Init.MasterInterDataIdleness = SPI_MASTER_INTERDATA_IDLENESS_06CYCLE;
  hspi4.Init.MasterReceiverAutoSusp = SPI_MASTER_RX_AUTOSUSP_DISABLE;
  hspi4.Init.MasterKeepIOState = SPI_MASTER_KEEP_IO_STATE_DISABLE;
  hspi4.Init.IOSwap = SPI_IO_SWAP_DISABLE;
  if (HAL_SPI_Init(&hspi4) != HAL_OK)
  {
    Error_Handler();
  }

}

static void MX_TIM2_Init(void)
{

  TIM_ClockConfigTypeDef sClockSourceConfig = {0};
  TIM_MasterConfigTypeDef sMasterConfig = {0};

  htim2.Instance = TIM2;
  htim2.Init.Prescaler = 2750 - 1;
  htim2.Init.CounterMode = TIM_COUNTERMODE_UP;
  htim2.Init.Period = 4294967295;
  htim2.Init.ClockDivision = TIM_CLOCKDIVISION_DIV1;
  htim2.Init.AutoReloadPreload = TIM_AUTORELOAD_PRELOAD_DISABLE;
  if (HAL_TIM_Base_Init(&htim2) != HAL_OK)
  {
    Error_Handler();
  }
  sClockSourceConfig.ClockSource = TIM_CLOCKSOURCE_INTERNAL;
  if (HAL_TIM_ConfigClockSource(&htim2, &sClockSourceConfig) != HAL_OK)
  {
    Error_Handler();
  }
  sMasterConfig.MasterOutputTrigger = TIM_TRGO_RESET;
  sMasterConfig.MasterSlaveMode = TIM_MASTERSLAVEMODE_DISABLE;
  if (HAL_TIMEx_MasterConfigSynchronization(&htim2, &sMasterConfig) != HAL_OK)
  {
    Error_Handler();
  }

}

static void MX_TIM7_Init(void)
{

  TIM_MasterConfigTypeDef sMasterConfig = {0};

  htim7.Instance = TIM7;
  htim7.Init.Prescaler = 275-1;
  htim7.Init.CounterMode = TIM_COUNTERMODE_UP;
  htim7.Init.Period = 10000-1;
  htim7.Init.AutoReloadPreload = TIM_AUTORELOAD_PRELOAD_ENABLE;
  if (HAL_TIM_Base_Init(&htim7) != HAL_OK)
  {
    Error_Handler();
  }
  sMasterConfig.MasterOutputTrigger = TIM_TRGO_RESET;
  sMasterConfig.MasterSlaveMode = TIM_MASTERSLAVEMODE_DISABLE;
  if (HAL_TIMEx_MasterConfigSynchronization(&htim7, &sMasterConfig) != HAL_OK)
  {
    Error_Handler();
  }

}

static void MX_USART3_UART_Init(void)
{

  huart3.Instance = USART3;
  huart3.Init.BaudRate = 115200;
  huart3.Init.WordLength = UART_WORDLENGTH_8B;
  huart3.Init.StopBits = UART_STOPBITS_1;
  huart3.Init.Parity = UART_PARITY_NONE;
  huart3.Init.Mode = UART_MODE_TX_RX;
  huart3.Init.HwFlowCtl = UART_HWCONTROL_NONE;
  huart3.Init.OverSampling = UART_OVERSAMPLING_16;
  huart3.Init.OneBitSampling = UART_ONE_BIT_SAMPLE_DISABLE;
  huart3.Init.ClockPrescaler = UART_PRESCALER_DIV1;
  huart3.AdvancedInit.AdvFeatureInit = UART_ADVFEATURE_NO_INIT;
  if (HAL_UART_Init(&huart3) != HAL_OK)
  {
    Error_Handler();
  }
  if (HAL_UARTEx_SetTxFifoThreshold(&huart3, UART_TXFIFO_THRESHOLD_1_8) != HAL_OK)
  {
    Error_Handler();
  }
  if (HAL_UARTEx_SetRxFifoThreshold(&huart3, UART_RXFIFO_THRESHOLD_1_8) != HAL_OK)
  {
    Error_Handler();
  }
  if (HAL_UARTEx_DisableFifoMode(&huart3) != HAL_OK)
  {
    Error_Handler();
  }

}

static void MX_USB_OTG_HS_USB_Init(void)
{

}

static void MX_DMA_Init(void)
{

  /* DMA controller clock enable */
  __HAL_RCC_DMA1_CLK_ENABLE();
  __HAL_RCC_DMA2_CLK_ENABLE();

  /* DMA interrupt init */
  /* DMA1_Stream0_IRQn interrupt configuration */
  HAL_NVIC_SetPriority(DMA1_Stream0_IRQn, 5, 0);
  HAL_NVIC_EnableIRQ(DMA1_Stream0_IRQn);
  /* DMA1_Stream6_IRQn interrupt configuration */
  HAL_NVIC_SetPriority(DMA1_Stream6_IRQn, 5, 0);
  HAL_NVIC_EnableIRQ(DMA1_Stream6_IRQn);
  /* DMA1_Stream7_IRQn interrupt configuration */
  HAL_NVIC_SetPriority(DMA1_Stream7_IRQn, 5, 0);
  HAL_NVIC_EnableIRQ(DMA1_Stream7_IRQn);
  /* DMA2_Stream0_IRQn interrupt configuration */
  HAL_NVIC_SetPriority(DMA2_Stream0_IRQn, 5, 0);
  HAL_NVIC_EnableIRQ(DMA2_Stream0_IRQn);
  /* DMA2_Stream1_IRQn interrupt configuration */
  HAL_NVIC_SetPriority(DMA2_Stream1_IRQn, 5, 0);
  HAL_NVIC_EnableIRQ(DMA2_Stream1_IRQn);
  /* DMA2_Stream3_IRQn interrupt configuration */
  HAL_NVIC_SetPriority(DMA2_Stream3_IRQn, 5, 0);
  HAL_NVIC_EnableIRQ(DMA2_Stream3_IRQn);

}

static void MX_GPIO_Init(void)
{
  GPIO_InitTypeDef GPIO_InitStruct = {0};

  /* GPIO Ports Clock Enable */
  __HAL_RCC_GPIOE_CLK_ENABLE();
  __HAL_RCC_GPIOC_CLK_ENABLE();
  __HAL_RCC_GPIOF_CLK_ENABLE();
  __HAL_RCC_GPIOH_CLK_ENABLE();
  __HAL_RCC_GPIOA_CLK_ENABLE();
  __HAL_RCC_GPIOB_CLK_ENABLE();
  __HAL_RCC_GPIOD_CLK_ENABLE();
  __HAL_RCC_GPIOG_CLK_ENABLE();

  /*Configure GPIO pin Output Level */
  HAL_GPIO_WritePin(LED_RTD_GPIO_Port, LED_RTD_Pin, GPIO_PIN_RESET);

  /*Configure GPIO pin Output Level */
  HAL_GPIO_WritePin(GPIOB, LED_BUILTIN_GREEN_Pin|LED_BUILTIN_RED_Pin, GPIO_PIN_RESET);

  /*Configure GPIO pin Output Level */
  HAL_GPIO_WritePin(GPIOE, LED_VCU_Pin|LED_GEAR_Pin|LED_BUILTIN_YELLOW_Pin, GPIO_PIN_RESET);

  /*Configure GPIO pin Output Level */
  HAL_GPIO_WritePin(GPIOD, USB_FS_PWR_EN_Pin|SIREN_RTD_Pin, GPIO_PIN_RESET);

  /*Configure GPIO pin Output Level */
  HAL_GPIO_WritePin(GPIOG, LED_CAN_TX_Pin|LED_CAN_RX_Pin, GPIO_PIN_RESET);

  /*Configure GPIO pin Output Level */
  HAL_GPIO_WritePin(GPIOC, LED_WARN_Pin|LED_ERROR_Pin, GPIO_PIN_RESET);

  /*Configure GPIO pin : BUTTON_BUILTIN_Pin */
  GPIO_InitStruct.Pin = BUTTON_BUILTIN_Pin;
  GPIO_InitStruct.Mode = GPIO_MODE_INPUT;
  GPIO_InitStruct.Pull = GPIO_NOPULL;
  HAL_GPIO_Init(BUTTON_BUILTIN_GPIO_Port, &GPIO_InitStruct);

  /*Configure GPIO pin : MICRO_BSE_Pin */
  GPIO_InitStruct.Pin = MICRO_BSE_Pin;
  GPIO_InitStruct.Mode = GPIO_MODE_INPUT;
  GPIO_InitStruct.Pull = GPIO_PULLUP;
  HAL_GPIO_Init(MICRO_BSE_GPIO_Port, &GPIO_InitStruct);

  /*Configure GPIO pin : HALL_L_Pin */
  GPIO_InitStruct.Pin = HALL_L_Pin;
  GPIO_InitStruct.Mode = GPIO_MODE_IT_RISING;
  GPIO_InitStruct.Pull = GPIO_PULLUP;
  HAL_GPIO_Init(HALL_L_GPIO_Port, &GPIO_InitStruct);

  /*Configure GPIO pin : LED_RTD_Pin */
  GPIO_InitStruct.Pin = LED_RTD_Pin;
  GPIO_InitStruct.Mode = GPIO_MODE_OUTPUT_PP;
  GPIO_InitStruct.Pull = GPIO_NOPULL;
  GPIO_InitStruct.Speed = GPIO_SPEED_FREQ_LOW;
  HAL_GPIO_Init(LED_RTD_GPIO_Port, &GPIO_InitStruct);

  /*Configure GPIO pins : LED_BUILTIN_GREEN_Pin LED_BUILTIN_RED_Pin */
  GPIO_InitStruct.Pin = LED_BUILTIN_GREEN_Pin|LED_BUILTIN_RED_Pin;
  GPIO_InitStruct.Mode = GPIO_MODE_OUTPUT_PP;
  GPIO_InitStruct.Pull = GPIO_NOPULL;
  GPIO_InitStruct.Speed = GPIO_SPEED_FREQ_LOW;
  HAL_GPIO_Init(GPIOB, &GPIO_InitStruct);

  /*Configure GPIO pins : LED_VCU_Pin LED_GEAR_Pin LED_BUILTIN_YELLOW_Pin */
  GPIO_InitStruct.Pin = LED_VCU_Pin|LED_GEAR_Pin|LED_BUILTIN_YELLOW_Pin;
  GPIO_InitStruct.Mode = GPIO_MODE_OUTPUT_PP;
  GPIO_InitStruct.Pull = GPIO_NOPULL;
  GPIO_InitStruct.Speed = GPIO_SPEED_FREQ_LOW;
  HAL_GPIO_Init(GPIOE, &GPIO_InitStruct);

  /*Configure GPIO pins : GEAR_HIGH_Pin GEAR_REVERSE_Pin BUTTON_RTD_Pin */
  GPIO_InitStruct.Pin = GEAR_HIGH_Pin|GEAR_REVERSE_Pin|BUTTON_RTD_Pin;
  GPIO_InitStruct.Mode = GPIO_MODE_INPUT;
  GPIO_InitStruct.Pull = GPIO_PULLDOWN;
  HAL_GPIO_Init(GPIOE, &GPIO_InitStruct);

  /*Configure GPIO pin : MICRO_APPS_Pin */
  GPIO_InitStruct.Pin = MICRO_APPS_Pin;
  GPIO_InitStruct.Mode = GPIO_MODE_INPUT;
  GPIO_InitStruct.Pull = GPIO_PULLUP;
  HAL_GPIO_Init(MICRO_APPS_GPIO_Port, &GPIO_InitStruct);

  /*Configure GPIO pins : USB_FS_PWR_EN_Pin SIREN_RTD_Pin */
  GPIO_InitStruct.Pin = USB_FS_PWR_EN_Pin|SIREN_RTD_Pin;
  GPIO_InitStruct.Mode = GPIO_MODE_OUTPUT_PP;
  GPIO_InitStruct.Pull = GPIO_NOPULL;
  GPIO_InitStruct.Speed = GPIO_SPEED_FREQ_LOW;
  HAL_GPIO_Init(GPIOD, &GPIO_InitStruct);

  /*Configure GPIO pins : LED_CAN_TX_Pin LED_CAN_RX_Pin */
  GPIO_InitStruct.Pin = LED_CAN_TX_Pin|LED_CAN_RX_Pin;
  GPIO_InitStruct.Mode = GPIO_MODE_OUTPUT_PP;
  GPIO_InitStruct.Pull = GPIO_NOPULL;
  GPIO_InitStruct.Speed = GPIO_SPEED_FREQ_LOW;
  HAL_GPIO_Init(GPIOG, &GPIO_InitStruct);

  /*Configure GPIO pin : USB_FS_OVCR_Pin */
  GPIO_InitStruct.Pin = USB_FS_OVCR_Pin;
  GPIO_InitStruct.Mode = GPIO_MODE_IT_RISING;
  GPIO_InitStruct.Pull = GPIO_NOPULL;
  HAL_GPIO_Init(USB_FS_OVCR_GPIO_Port, &GPIO_InitStruct);

  /*Configure GPIO pin : HALL_R_Pin */
  GPIO_InitStruct.Pin = HALL_R_Pin;
  GPIO_InitStruct.Mode = GPIO_MODE_IT_FALLING;
  GPIO_InitStruct.Pull = GPIO_PULLUP;
  HAL_GPIO_Init(HALL_R_GPIO_Port, &GPIO_InitStruct);

  /*Configure GPIO pins : LED_WARN_Pin LED_ERROR_Pin */
  GPIO_InitStruct.Pin = LED_WARN_Pin|LED_ERROR_Pin;
  GPIO_InitStruct.Mode = GPIO_MODE_OUTPUT_PP;
  GPIO_InitStruct.Pull = GPIO_NOPULL;
  GPIO_InitStruct.Speed = GPIO_SPEED_FREQ_LOW;
  HAL_GPIO_Init(GPIOC, &GPIO_InitStruct);

  /*Configure GPIO pin : USB_FS_VBUS_Pin */
  GPIO_InitStruct.Pin = USB_FS_VBUS_Pin;
  GPIO_InitStruct.Mode = GPIO_MODE_INPUT;
  GPIO_InitStruct.Pull = GPIO_NOPULL;
  HAL_GPIO_Init(USB_FS_VBUS_GPIO_Port, &GPIO_InitStruct);

  /*Configure GPIO pin : USB_FS_ID_Pin */
  GPIO_InitStruct.Pin = USB_FS_ID_Pin;
  GPIO_InitStruct.Mode = GPIO_MODE_AF_PP;
  GPIO_InitStruct.Pull = GPIO_NOPULL;
  GPIO_InitStruct.Speed = GPIO_SPEED_FREQ_LOW;
  GPIO_InitStruct.Alternate = GPIO_AF10_OTG1_HS;
  HAL_GPIO_Init(USB_FS_ID_GPIO_Port, &GPIO_InitStruct);

  /* EXTI interrupt init*/
  HAL_NVIC_SetPriority(EXTI3_IRQn, 5, 0);
  HAL_NVIC_EnableIRQ(EXTI3_IRQn);

  HAL_NVIC_SetPriority(EXTI9_5_IRQn, 5, 0);
  HAL_NVIC_EnableIRQ(EXTI9_5_IRQn);

}

__weak void start_feed_dog_task(void *argument)
{
  /* USER CODE BEGIN 5 */
  while (1) {
#ifdef PRODUCTION
    HAL_IWDG_Refresh(&hiwdg1);
#endif  // PRODUCTION
    osDelay(100);
  }
  /* USER CODE END 5 */
}

/* MPU Configuration */

void MPU_Config(void)
{
  MPU_Region_InitTypeDef MPU_InitStruct = {0};

  /* Disables the MPU */
  HAL_MPU_Disable();

  /** Initializes and configures the Region and the memory to be protected
  */
  MPU_InitStruct.Enable = MPU_REGION_ENABLE;
  MPU_InitStruct.Number = MPU_REGION_NUMBER0;
  MPU_InitStruct.BaseAddress = 0x30004000;
  MPU_InitStruct.Size = MPU_REGION_SIZE_16KB;
  MPU_InitStruct.SubRegionDisable = 0x0;
  MPU_InitStruct.TypeExtField = MPU_TEX_LEVEL0;
  MPU_InitStruct.AccessPermission = MPU_REGION_FULL_ACCESS;
  MPU_InitStruct.DisableExec = MPU_INSTRUCTION_ACCESS_DISABLE;
  MPU_InitStruct.IsShareable = MPU_ACCESS_SHAREABLE;
  MPU_InitStruct.IsCacheable = MPU_ACCESS_NOT_CACHEABLE;
  MPU_InitStruct.IsBufferable = MPU_ACCESS_BUFFERABLE;

  HAL_MPU_ConfigRegion(&MPU_InitStruct);
  /* Enables the MPU */
  HAL_MPU_Enable(MPU_PRIVILEGED_DEFAULT);

}

void HAL_TIM_PeriodElapsedCallback(TIM_HandleTypeDef *htim)
{
  /* USER CODE BEGIN Callback 0 */
#ifdef USE_HALL_SENSOR
  if(htim->Instance == TIM7) {
    __hall_timer_elapsed(htim);
  }
#endif
  /* USER CODE END Callback 0 */
  if (htim->Instance == TIM6) {
    HAL_IncTick();
  }
}

void Error_Handler(void)
{
  /* USER CODE BEGIN Error_Handler_Debug */
  __disable_irq();
  // if under debugging
  if ((CoreDebug->DHCSR & 0x1) == 0x1) {
    __asm volatile("BKPT #0");
  } else {
#ifdef PRODUCTION
    NVIC_SystemReset();
#else
    HAL_GPIO_WritePin(LED_BUILTIN_GREEN_GPIO_Port, LED_BUILTIN_GREEN_Pin,
                      GPIO_PIN_SET);
    HAL_GPIO_WritePin(LED_BUILTIN_YELLOW_GPIO_Port, LED_BUILTIN_YELLOW_Pin,
                      GPIO_PIN_SET);
    HAL_GPIO_WritePin(LED_BUILTIN_RED_GPIO_Port, LED_BUILTIN_RED_Pin,
                      GPIO_PIN_SET);

    HAL_GPIO_WritePin(LED_ERROR_GPIO_Port, LED_ERROR_Pin, GPIO_PIN_SET);
    HAL_GPIO_WritePin(LED_VCU_GPIO_Port, LED_VCU_Pin, GPIO_PIN_SET);
    while (1) {
    }
#endif  // PRODUCTION
  }
  /* USER CODE END Error_Handler_Debug */
}

#ifdef  USE_FULL_ASSERT
/**
  * @brief  Reports the name of the source file and the source line number
  *         where the assert_param error has occurred.
  * @param  file: pointer to the source file name
  * @param  line: assert_param error line source number
  * @retval None
  */
void assert_failed(uint8_t *file, uint32_t line)
{
  /* USER CODE BEGIN 6 */
  /* User can add his own implementation to report the file name and line
     number, ex: printf("Wrong parameters value: file %s on line %d\r\n", file,
     line) */
  /* USER CODE END 6 */
}
#endif /* USE_FULL_ASSERT */

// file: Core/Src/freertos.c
/* USER CODE BEGIN Header */
/**
  ******************************************************************************
  * File Name          : freertos.c
  * Description        : Code for freertos applications
  ******************************************************************************
  * @attention
  *
  * Copyright (c) 2023 STMicroelectronics.
  * All rights reserved.
  *
  * This software is licensed under terms that can be found in the LICENSE file
  * in the root directory of this software component.
  * If no LICENSE file comes with this software, it is provided AS-IS.
  *
  ******************************************************************************
  */
/* USER CODE END Header */

#include "FreeRTOS.h"
#include "task.h"
#include "main.h"

/* Hook prototypes */
void configureTimerForRunTimeStats(void);
unsigned long getRunTimeCounterValue(void);
void vApplicationStackOverflowHook(xTaskHandle xTask, signed char *pcTaskName);

/* USER CODE BEGIN 1 */
/* Functions needed when configGENERATE_RUN_TIME_STATS is on */
__weak void configureTimerForRunTimeStats(void)
{

}

__weak unsigned long getRunTimeCounterValue(void)
{
return 0;
}
/* USER CODE END 1 */

/* USER CODE BEGIN 4 */
__weak void vApplicationStackOverflowHook(xTaskHandle xTask, signed char *pcTaskName)
{
   /* Run time stack overflow checking is performed if
   configCHECK_FOR_STACK_OVERFLOW is defined to 1 or 2. This hook function is
   called if a stack overflow is detected. */
}
/* USER CODE END 4 */
